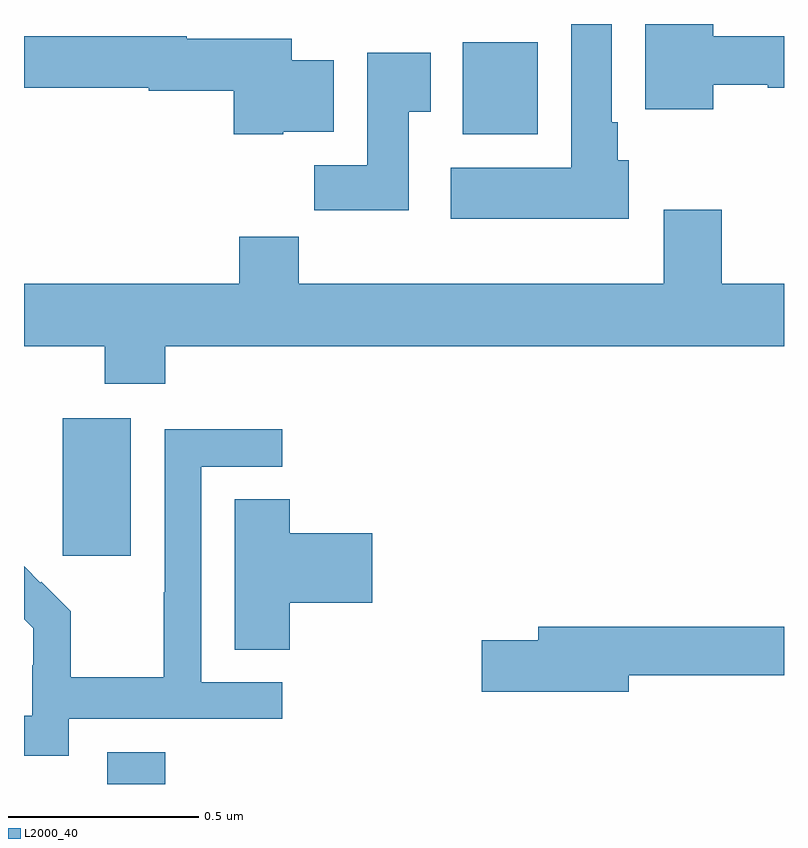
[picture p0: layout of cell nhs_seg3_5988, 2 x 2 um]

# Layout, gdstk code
import gdstk
lib = gdstk.Library(unit=1e-6, precision=1e-09)
def R(c, l, rs):  # rectangles x0, y0, x1, y1
    for r in rs: c.add(gdstk.rectangle(r[:2], r[2:], *l))
def P(c, l, *ps):  # polygons
    for p in ps: c.add(gdstk.Polygon(p, *l))
L2000_40 = (2000, 40)

nhs_seg3_5988 = lib.new_cell('nhs_seg3_5988')
R(nhs_seg3_5988, L2000_40, [(185.219,730.4,185.372,730.483), (185.102,731.001,185.281,731.362), (186.155,732.11,186.352,732.352)])
P(nhs_seg3_5988, L2000_40, [(186.592,732.042),(186.562,732.042),(186.562,732.142),(186.547,732.142),(186.547,732.4),(186.44,732.4),(186.44,732.022),(186.123,732.022),(186.123,731.888),(186.592,731.888)],
  [(186.814,732.24),(186.957,732.24),(186.957,732.232),(187,732.232),(187,732.368),(186.814,732.368),(186.814,732.4),(186.635,732.4),(186.635,732.176),(186.814,732.176)],
  [(185.682,732.116),(185.815,732.116),(185.815,732.304),(185.704,732.304),(185.704,732.361),(185.428,732.361),(185.428,732.368),(185,732.368),(185,732.232),(185.328,732.232),(185.328,732.224),(185.552,732.224),(185.552,732.11),(185.682,732.11)],
  [(186.013,732.169),(186.07,732.169),(186.07,732.325),(185.903,732.325),(185.903,732.028),(185.764,732.028),(185.764,731.91),(186.013,731.91)],
  [(185.372,731.552),(187,731.552),(187,731.716),(186.836,731.716),(186.836,731.911),(186.683,731.911),(186.683,731.716),(185.723,731.716),(185.723,731.84),(185.567,731.84),(185.567,731.716),(185,731.716),(185,731.552),(185.212,731.552),(185.212,731.453),(185.372,731.453)],
  [(185.118,730.572),(185.68,730.572),(185.68,730.668),(185.466,730.668),(185.466,731.235),(185.68,731.235),(185.68,731.334),(185.37,731.334),(185.37,730.904),(185.368,730.904),(185.368,730.681),(185.123,730.681),(185.123,730.855),(185.046,730.932),(185.043,730.929),(185,730.973),(185,730.834),(185.024,730.81),(185.024,730.713),(185.022,730.713),(185.022,730.579),(185,730.579),(185,730.475),(185.118,730.475)],
  [(185.699,730.877),(185.917,730.877),(185.917,731.06),(185.699,731.06),(185.699,731.15),(185.555,731.15),(185.555,730.753),(185.699,730.753)],
  [(186.592,730.686),(187,730.686),(187,730.814),(186.353,730.814),(186.353,730.778),(186.204,730.778),(186.204,730.643),(186.592,730.643)])

lib.write_gds('nhs_seg3_5988.gds')
